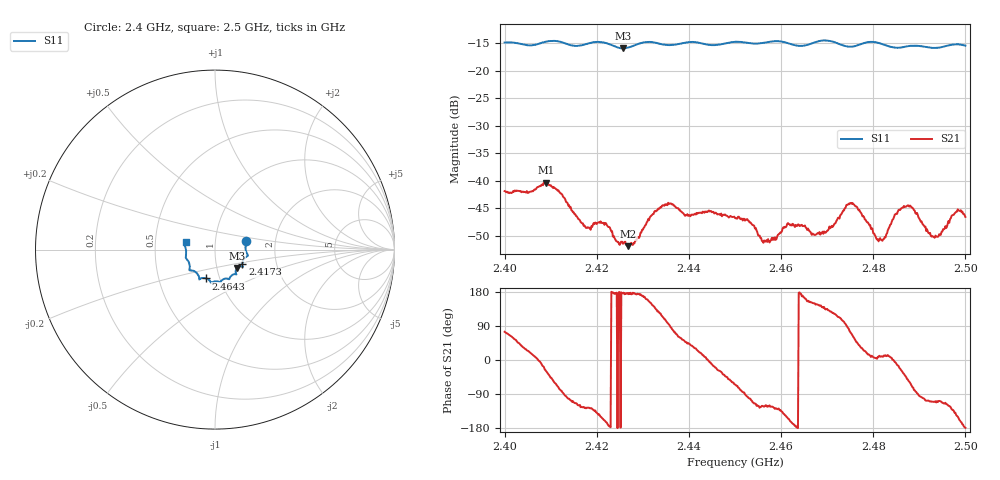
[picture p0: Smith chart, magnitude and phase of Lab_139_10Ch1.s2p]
# Hz S RI R 50
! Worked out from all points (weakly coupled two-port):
!   601 points, 2.4 GHz to 2.5 GHz, reference 50 ohm
!   highest |S21| = -40.31 dB at 2.409 GHz (marker M1); lowest = -51.9 dB at 2.4268 GHz (marker M2)
!   lowest |S11| = -15.9 dB at 2.4257 GHz (marker M3), VSWR 1.38, Z = 62.4 - j13.1 ohm
!   |S11| at or under -10 dB: start of sweep to end of sweep
!   S12 and S22 are empty: the file has one direction only
!   S11 on the Smith chart (normalised r, x): 2.4 GHz: 1.41, +0.14; 2.4173 GHz: 1.34, -0.23; 2.4643 GHz: 0.86, -0.28; 2.5 GHz: 0.72, +0.06
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2.4e9  0.1735 0.0495  0.00216 0.00777  0 0  0 0
2.409e9  0.1816 -0.0278  0.00843 -0.00469  0 0  0 0
2.416667e9  0.1529 -0.0747  -0.00229 -0.00347  0 0  0 0
2.417333e9  0.1523 -0.0822  -0.00233 -0.00314  0 0  0 0
2.421667e9  0.1527 -0.0952  -0.00372 -0.00142  0 0  0 0
2.425667e9  0.1226 -0.1023  -0.00267 0.000168  0 0  0 0
2.426833e9  0.1169 -0.1126  -0.00253 0.00028  0 0  0 0
2.433333e9  0.1127 -0.1365  -0.00348 0.00439  0 0  0 0
2.436e9  0.0943 -0.1428  0.000356 0.00621  0 0  0 0
2.45e9  0.0297 -0.1807  0.00198 -0.00414  0 0  0 0
2.453e9  0.0175 -0.1775  -0.000801 -0.00423  0 0  0 0
2.4565e9  -0.0102 -0.1797  -0.00147 -0.0024  0 0  0 0
2.464333e9  -0.0503 -0.1604  -0.00395 0.000381  0 0  0 0
2.466667e9  -0.0762 -0.1598  -0.00285 0.00152  0 0  0 0
2.469667e9  -0.0878 -0.1666  -0.00232 0.00246  0 0  0 0
2.475e9  -0.1065 -0.1264  0.00174 0.00596  0 0  0 0
2.480833e9  -0.1427 -0.1103  0.00292 0.000166  0 0  0 0
2.483333e9  -0.1408 -0.0895  0.00361 0.000659  0 0  0 0
2.487167e9  -0.1566 -0.0554  0.00411 -0.00416  0 0  0 0
2.493e9  -0.1606 -0.0136  -0.00108 -0.00292  0 0  0 0
2.498167e9  -0.1707 0.0322  -0.00443 -0.00281  0 0  0 0
2.5e9  -0.1639 0.0419  -0.0047 -7.21e-05  0 0  0 0
